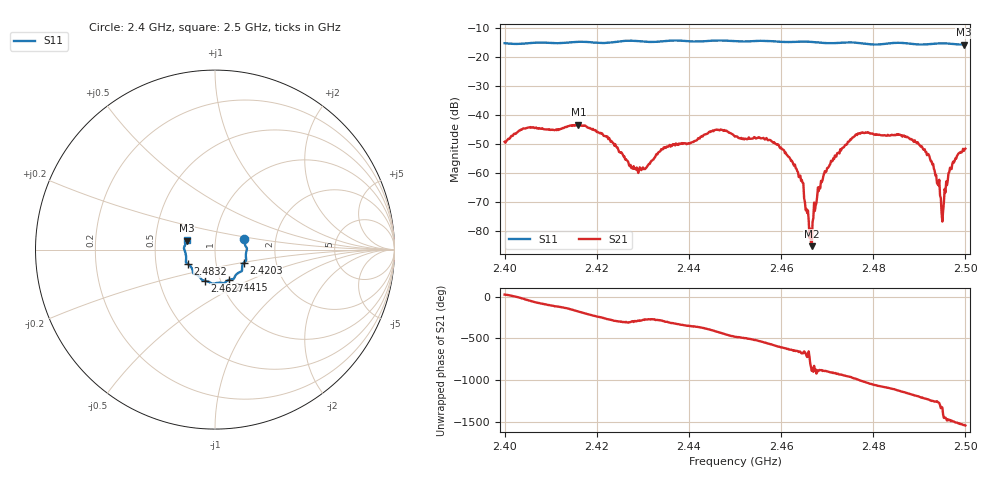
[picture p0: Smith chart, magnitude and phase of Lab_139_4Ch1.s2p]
# Hz S RI R 50
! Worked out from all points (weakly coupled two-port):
!   601 points, 2.4 GHz to 2.5 GHz, reference 50 ohm
!   highest |S21| = -43.37 dB at 2.416 GHz (marker M1); lowest = -85.3 dB at 2.4667 GHz (marker M2)
!   lowest |S11| = -15.7 dB at 2.4997 GHz (marker M3), VSWR 1.39, Z = 36.3 + j3.69 ohm
!   |S11| at or under -10 dB: start of sweep to end of sweep
!   S12 and S22 are empty: the file has one direction only
!   S11 on the Smith chart (normalised r, x): 2.4 GHz: 1.38, +0.17; 2.4203 GHz: 1.36, -0.21; 2.4415 GHz: 1.10, -0.38; 2.4627 GHz: 0.84, -0.30; 2.4832 GHz: 0.73, -0.12; 2.5 GHz: 0.73, +0.08
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2.4e9  0.1628 0.0601  0.00315 0.00137  0 0  0 0
2.416e9  0.1742 -0.0571  -0.00677 -0.000327  0 0  0 0
2.416667e9  0.1738 -0.0597  -0.00656 0.000912  0 0  0 0
2.420333e9  0.1595 -0.0737  -0.00235 0.00443  0 0  0 0
2.428667e9  0.1446 -0.1225  0.000514 0.00113  0 0  0 0
2.433333e9  0.1129 -0.1456  0.000447 0.0022  0 0  0 0
2.4415e9  0.077 -0.1688  0.00361 -4.84e-05  0 0  0 0
2.45e9  0.0326 -0.1848  -0.00212 -0.00366  0 0  0 0
2.457333e9  -0.0166 -0.189  -0.00343 0.00142  0 0  0 0
2.462667e9  -0.0556 -0.1739  0.00022 0.00139  0 0  0 0
2.464333e9  -0.0659 -0.1722  0.00049 0.000539  0 0  0 0
2.466667e9  -0.0744 -0.167  -5.27e-05 -1.31e-05  0 0  0 0
2.4685e9  -0.0814 -0.1577  -0.000505 -0.000197  0 0  0 0
2.471833e9  -0.104 -0.14  -0.00191 0.00039  0 0  0 0
2.476667e9  -0.1226 -0.1261  -5.91e-05 0.00478  0 0  0 0
2.483167e9  -0.1522 -0.0794  0.00451 -0.000552  0 0  0 0
2.483333e9  -0.1532 -0.0786  0.00439 -0.000683  0 0  0 0
2.491667e9  -0.1654 -0.0156  -0.00161 -0.00122  0 0  0 0
2.495e9  -0.1729 0.0099  -6.7e-05 0.000128  0 0  0 0
2.496833e9  -0.1684 0.0216  0.000837 -0.000809  0 0  0 0
2.499667e9  -0.1567 0.0495  -7.27e-05 -0.0024  0 0  0 0
2.5e9  -0.1559 0.0536  -0.00028 -0.00261  0 0  0 0
